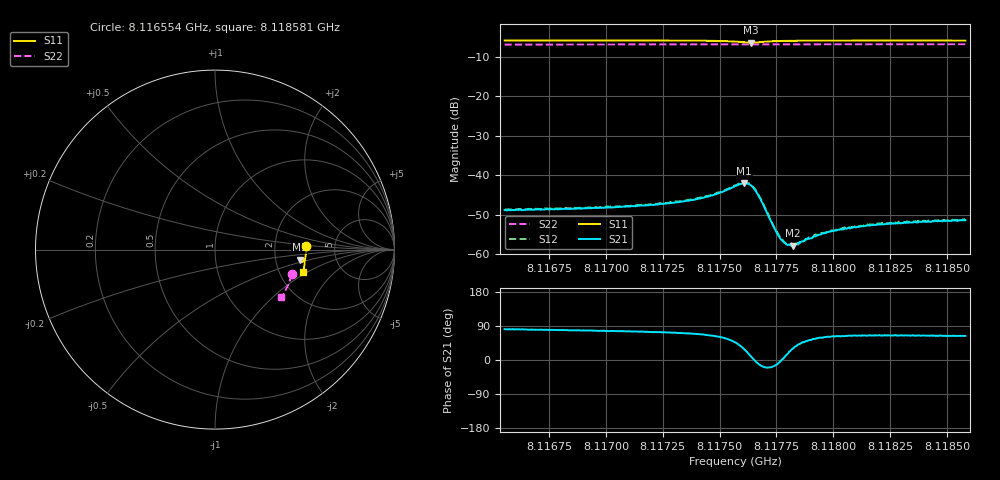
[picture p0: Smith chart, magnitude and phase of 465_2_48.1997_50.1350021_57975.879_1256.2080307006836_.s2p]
#  HZ  S  RI  R  50.00
! Rohde & Schwarz Vector Network Analyzer
! Rohde-Schwarz,ZNB20-2Port,1311601062101988,3.16
! Created: UTC 3/20/2024, 11:56:54 AM
! freq[Hz]  re:S11  im:S11  re:S21  im:S21  re:S12  im:S12  re:S22  im:S22
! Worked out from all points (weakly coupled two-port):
!   401 points, 8.116554 GHz to 8.118581 GHz, reference 50 ohm
!   highest |S21| = -42.01 dB at 8.117608 GHz (marker M1); lowest = -57.8 dB at 8.117821 GHz (marker M2)
!   lowest |S11| = -6.4 dB at 8.117639 GHz (marker M3), VSWR 2.82, Z = 138 - j19.8 ohm
!   |S11| at or under -10 dB: nowhere
!   |S22| runs from -6.9 to -6.8 dB; largest |S21 - S12| = 0.00022
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8.116554e9  0.5074 0.0182  0.000541 0.00358  0.000538 0.00364  0.4285 -0.1387
8.1168935e9  0.5072 -0.00788  0.000785 0.00371  0.000831 0.0038  0.4213 -0.1612
8.1172331e9  0.505 -0.0352  0.0012 0.00414  0.00132 0.00424  0.4133 -0.1836
8.1173396e9  0.5034 -0.0446  0.00152 0.00439  0.00156 0.00446  0.4102 -0.1904
8.1174207e9  0.5013 -0.0524  0.00195 0.00476  0.00202 0.00484  0.4079 -0.1957
8.1175068e9  0.4963 -0.062  0.00305 0.00529  0.00316 0.00536  0.4053 -0.2013
8.1175677e9  0.487 -0.068  0.00497 0.00531  0.00512 0.00539  0.4031 -0.2052
8.1176082e9  0.4764 -0.0654  0.00698 0.00378  0.00713 0.00384  0.4016 -0.2075
8.1176386e9  0.4727 -0.0556  0.0073 0.00112  0.00748 0.00111  0.4006 -0.2087
8.117669e9  0.4789 -0.0473  0.00557 -0.00091  0.00575 -0.00103  0.4001 -0.2103
8.1177299e9  0.4935 -0.0501  0.00235 -0.000782  0.00237 -0.000836  0.3992 -0.2142
8.1177653e9  0.4969 -0.0552  0.0016 -0.000133  0.00166 -0.000149  0.3983 -0.2166
8.1177907e9  0.4983 -0.0587  0.00135 0.000267  0.00132 0.000282  0.3974 -0.2183
8.1178211e9  0.4992 -0.0625  0.00112 0.000632  0.00109 0.000646  0.3965 -0.2203
8.1178414e9  0.4994 -0.0648  0.00104 0.000837  0.00106 0.000881  0.3958 -0.2215
8.1179073e9  0.4996 -0.0718  0.000937 0.0013  0.000987 0.00132  0.3937 -0.2257
8.1179833e9  0.4992 -0.079  0.00094 0.0017  0.000971 0.0017  0.3912 -0.2306
8.1180391e9  0.4986 -0.0838  0.000931 0.00184  0.000963 0.00191  0.3894 -0.2341
8.1182114e9  0.4963 -0.0978  0.00104 0.00215  0.0011 0.00224  0.3835 -0.2446
8.1182469e9  0.4957 -0.1005  0.00104 0.0022  0.00105 0.00225  0.3823 -0.2467
8.1184243e9  0.4928 -0.1142  0.00113 0.00233  0.00112 0.00242  0.3756 -0.2575
8.1185814e9  0.4899 -0.1258  0.0012 0.00242  0.00122 0.00241  0.3697 -0.2666
